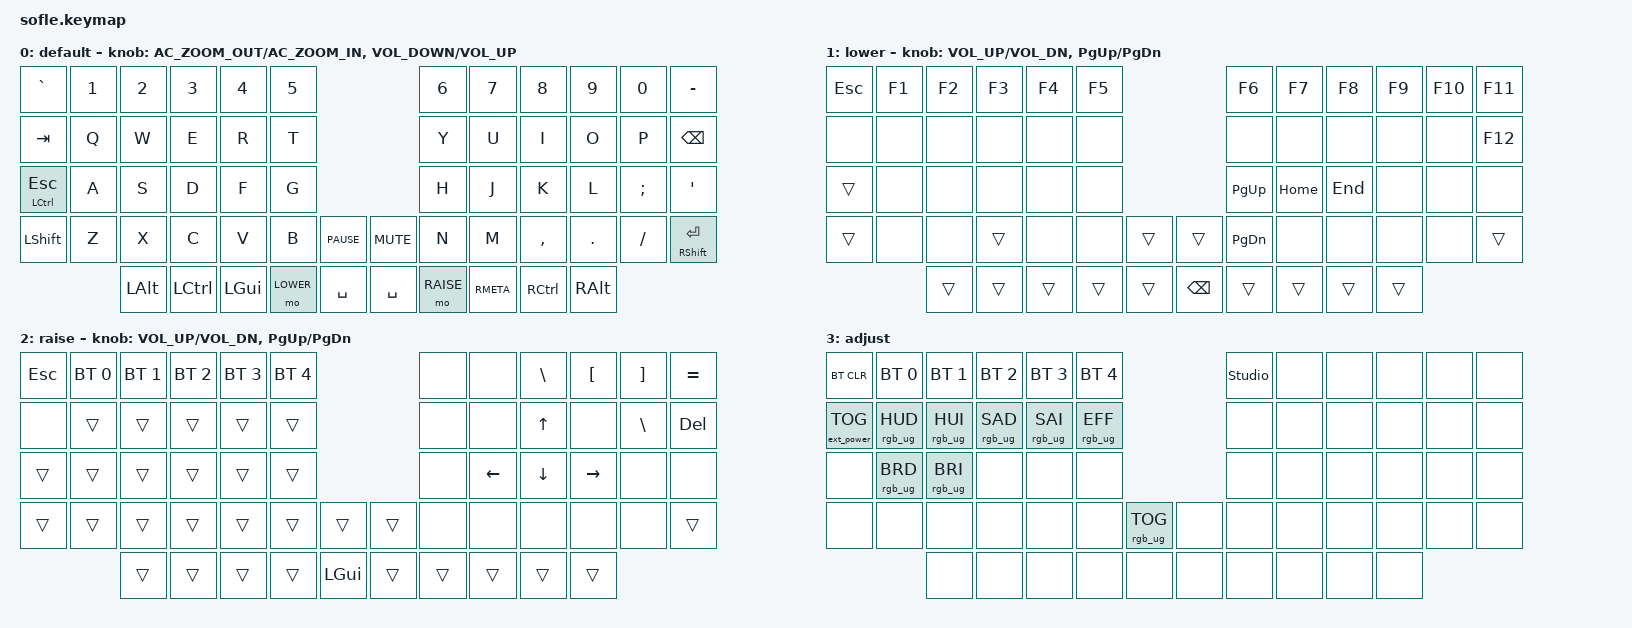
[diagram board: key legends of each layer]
/*
 * Copyright (c) 2020 The ZMK Contributors
 *
 * SPDX-License-Identifier: MIT
 */

#include <behaviors.dtsi>
#include <dt-bindings/zmk/bt.h>
#include <dt-bindings/zmk/ext_power.h>
#include <dt-bindings/zmk/keys.h>
#include <dt-bindings/zmk/rgb.h>

#define BASE 0
#define LOWER 1
#define RAISE 2
#define ADJUST 3

/ {
    // Activate ADJUST layer by pressing raise and lower

    conditional_layers {
        compatible = "zmk,conditional-layers";

        adjust_layer {
            if-layers = <LOWER RAISE>;
            then-layer = <ADJUST>;
        };
    };

    combos {
        compatible = "zmk,combos";

        Caps {
            bindings = <&kp CAPSLOCK>;
            key-positions = <24 36 50>;
        };

        enter {
            bindings = <&kp ENTER>;
            key-positions = <54 55>;
            timeout-ms = <150>;
        };
    };

    keymap {
        compatible = "zmk,keymap";

        default_layer {
            display-name = "default";

            // ------------------------------------------------------------------------------------------------------------
            // |   `   |  1  |  2  |  3   |  4   |  5   |                   |  6   |  7    |  8    |  9   |   0   |       |
            // |  ESC  |  Q  |  W  |  E   |  R   |  T   |                   |  Y   |  U    |  I    |  O   |   P   | BKSPC |
            // |  TAB  |  A  |  S  |  D   |  F   |  G   |                   |  H   |  J    |  K    |  L   |   ;   |   '   |
            // | SHIFT |  Z  |  X  |  C   |  V   |  B   |  MUTE  |  |       |  N   |  M    |  ,    |  .   |   /   | SHIFT |
            //               | GUI | ALT  | CTRL | LOWER|  ENTER |  | SPACE | RAISE| CTRL  | ALT   | GUI  |

            bindings = <
&kp GRAVE         &kp N1  &kp N2        &kp N3     &kp N4        &kp N5                                &kp N6     &kp N7     &kp N8             &kp N9         &kp N0    &kp MINUS
&kp TAB           &kp Q   &kp W         &kp E      &kp R         &kp T                                 &kp Y      &kp U      &kp I              &kp O          &kp P     &kp BACKSPACE
&mt LCTRL ESCAPE  &kp A   &kp S         &kp D      &kp F         &kp G                                 &kp H      &kp J      &kp K              &kp L          &kp SEMI  &kp APOS
&kp LSHFT         &kp Z   &kp X         &kp C      &kp V         &kp B      &kp C_PAUSE    &kp C_MUTE  &kp N      &kp M      &kp COMMA          &kp DOT        &kp FSLH  &mt RIGHT_SHIFT ENTER
                          &kp LEFT_ALT  &kp LCTRL  &kp LEFT_GUI  &mo LOWER  &kp SPACE      &kp SPACE   &mo RAISE  &kp RMETA  &kp RIGHT_CONTROL  &kp RIGHT_ALT
            >;

            sensor-bindings =
                <&inc_dec_kp C_AC_ZOOM_OUT C_AC_ZOOM_IN>,
                <&inc_dec_kp C_VOLUME_DOWN C_VOLUME_UP>;
        };

        lower_layer {
            display-name = "lower";

            // TODO: Some binds are waiting for shifted keycode support.
            // ------------------------------------------------------------------------------------------------------------
            // |       |  F1 |  F2 |  F3  |  F4  |  F5  |                   |  F6  |  F7   |  F8   |  F9  |  F10  |  F11  |
            // |   `   |  1  |  2  |  3   |  4   |  5   |                   |  6   |  7    |  8    |  9   |   0   |  F12  |
            // |       |  !  |  @  |  #   |  $   |  %   |                   |  ^   |  &    |  *    |  (   |   )   |   |   |
            // |       |  =  |  -  |  +   |  {   |  }   |        |  |       |  [   |  ]    |  ;    |  :   |   \   |       |
            //               |     |      |      |      |        |  |       |      |       |       |      |

            bindings = <
&kp ESC  &kp F1  &kp F2  &kp F3  &kp F4  &kp F5                           &kp F6     &kp F7    &kp F8   &kp F9  &kp F10  &kp F11
&none    &none   &none   &none   &none   &none                            &none      &none     &none    &none   &none    &kp F12
&trans   &none   &none   &none   &none   &none                            &kp PG_UP  &kp HOME  &kp END  &none   &none    &none
&trans   &none   &none   &trans  &none   &none   &trans    &trans         &kp PG_DN  &none     &none    &none   &none    &trans
                 &trans  &trans  &trans  &trans  &trans    &kp BACKSPACE  &trans     &trans    &trans   &trans
            >;

            sensor-bindings = <&inc_dec_kp C_VOL_UP C_VOL_DN &inc_dec_kp PG_UP PG_DN>;
        };

        raise_layer {
            display-name = "raise";

            // ------------------------------------------------------------------------------------------------------------
            // | BTCLR | BT1  | BT2  |  BT3  |  BT4  |  BT5 |                |      |      |       |      |       |       |
            // |       | INS  | PSCR | GUI   |       |      |                | PGUP |      |   ^   |      |       |       |
            // |       | ALT  | CTRL | SHIFT |       | CAPS |                | PGDN |   <- |   v   |  ->  |  DEL  | BKSPC |
            // |       | UNDO | CUT  | COPY  | PASTE |      |      |  |      |      |      |       |      |       |       |
            //                |      |       |       |      |      |  |      |      |      |       |      |

            bindings = <
&kp ESCAPE  &bt BT_SEL 0  &bt BT_SEL 1  &bt BT_SEL 2  &bt BT_SEL 3  &bt BT_SEL 4                          &none   &none     &kp BACKSLASH  &kp LEFT_BRACKET  &kp RIGHT_BRACKET  &kp EQUAL
&none       &trans        &trans        &trans        &trans        &trans                                &none   &none     &kp UP         &none             &kp BACKSLASH      &kp DELETE
&trans      &trans        &trans        &trans        &trans        &trans                                &none   &kp LEFT  &kp DOWN       &kp RIGHT         &none              &none
&trans      &trans        &trans        &trans        &trans        &trans        &trans          &trans  &none   &none     &none          &none             &none              &trans
                          &trans        &trans        &trans        &trans        &kp LEFT_GUI    &trans  &trans  &trans    &trans         &trans
            >;

            sensor-bindings = <&inc_dec_kp C_VOL_UP C_VOL_DN &inc_dec_kp PG_UP PG_DN>;
        };

        adjust_layer {
            // ----------------------------------------------------------------------------------------------------------------------------
            // | BTCLR  |  BT1    |  BT2    |   BT3   |   BT4   |   BT5   |                  |      |      |       |      |       |       |
            // | EXTPWR | RGB_HUD | RGB_HUI | RGB_SAD | RGB_SAI | RGB_EFF |                  |      |      |       |      |       |       |
            // |        | RGB_BRD | RGB_BRI |         |         |         |                  |      |      |       |      |       |       |
            // |        |         |         |         |         |         | RGB_TOG | |      |      |      |       |      |       |       |
            //                    |         |         |         |         |         | |      |      |      |       |      |

            display-name = "adjust";
            bindings = <
&bt BT_CLR         &bt BT_SEL 0     &bt BT_SEL 1     &bt BT_SEL 2     &bt BT_SEL 3     &bt BT_SEL 4                               &studio_unlock  &none  &none  &none  &none  &none
&ext_power EP_TOG  &rgb_ug RGB_HUD  &rgb_ug RGB_HUI  &rgb_ug RGB_SAD  &rgb_ug RGB_SAI  &rgb_ug RGB_EFF                            &none           &none  &none  &none  &none  &none
&none              &rgb_ug RGB_BRD  &rgb_ug RGB_BRI  &none            &none            &none                                      &none           &none  &none  &none  &none  &none
&none              &none            &none            &none            &none            &none            &rgb_ug RGB_TOG    &none  &none           &none  &none  &none  &none  &none
                                    &none            &none            &none            &none            &none              &none  &none           &none  &none  &none
            >;
        };
    };
};
